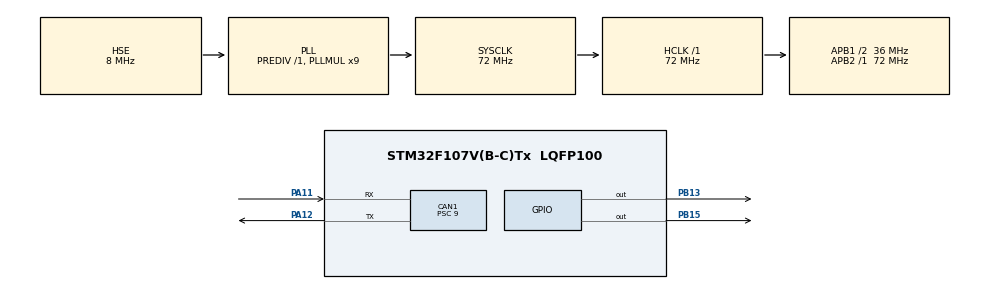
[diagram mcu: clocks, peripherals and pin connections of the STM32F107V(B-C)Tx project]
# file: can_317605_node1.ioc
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CAN1.BS1=CAN_BS1_5TQ
CAN1.BS2=CAN_BS2_2TQ
CAN1.CalculateBaudRate=500000
CAN1.CalculateTimeBit=2000
CAN1.CalculateTimeQuantum=250.0
CAN1.Mode=CAN_MODE_NORMAL
CAN1.Prescaler=9
CAN1.SJW=CAN_SJW_1TQ
Mcu.Family=STM32F1
Mcu.Name=STM32F107V(B-C)Tx
Mcu.Package=LQFP100
NVIC.CAN1_RX0_IRQn=true\:0\:0\:false\:false\:true\:true\:true\:true
NVIC.CAN1_RX1_IRQn=true\:0\:0\:false\:false\:true\:true\:true\:true
NVIC.CAN1_SCE_IRQn=true\:0\:0\:false\:false\:true\:true\:true\:true
NVIC.CAN1_TX_IRQn=true\:0\:0\:false\:false\:true\:true\:true\:true
NVIC.PriorityGroup=NVIC_PRIORITYGROUP_4
OSC_IN.Mode=HSE-External-Oscillator
OSC_IN.Signal=RCC_OSC_IN
OSC_OUT.Mode=HSE-External-Oscillator
OSC_OUT.Signal=RCC_OSC_OUT
PA11.Mode=CAN_Activate
PA11.Signal=CAN1_RX
PA12.Mode=CAN_Activate
PA12.Signal=CAN1_TX
PA13.Mode=Serial_Wire
PA13.Signal=SYS_JTMS-SWDIO
PA14.Mode=Serial_Wire
PA14.Signal=SYS_JTCK-SWCLK
PB13.Signal=GPIO_Output
PB15.Signal=GPIO_Output
ProjectManager.HeapSize=0x200
ProjectManager.StackSize=0x400
ProjectManager.TargetToolchain=STM32CubeIDE
RCC.AHBFreq_Value=72000000
RCC.APB1CLKDivider=RCC_HCLK_DIV2
RCC.APB1Freq_Value=36000000
RCC.APB1TimFreq_Value=72000000
RCC.APB2Freq_Value=72000000
RCC.APB2TimFreq_Value=72000000
RCC.HCLKFreq_Value=72000000
RCC.PLLMUL=RCC_PLL_MUL9
RCC.PLLSourceVirtual=RCC_PLLSOURCE_HSE
RCC.SYSCLKFreq_VALUE=72000000
RCC.SYSCLKSource=RCC_SYSCLKSOURCE_PLLCLK
RCC.USBFreq_Value=48000000
board=custom

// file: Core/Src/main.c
/* USER CODE BEGIN Header */
/**
  ******************************************************************************
  * @file           : main.c
  * @brief          : Main program body
  ******************************************************************************
  * @attention
  *
  * Copyright (c) 2025 STMicroelectronics.
  * All rights reserved.
  *
  * This software is licensed under terms that can be found in the LICENSE file
  * in the root directory of this software component.
  * If no LICENSE file comes with this software, it is provided AS-IS.
  *
  ******************************************************************************
  */
/* USER CODE END Header */
#include "main.h"

/* USER CODE BEGIN PM */
uint8_t TxData[1] = {1};     // send “1” to Node-2
uint8_t RxData[8];           // buffer for ACK
uint32_t TxMailbox;

uint32_t lastAckTime = 0;
uint32_t ackTimeoutMs = 1500;   // 1.5s timeout
/* USER CODE END PM */

CAN_HandleTypeDef hcan1;

/* USER CODE BEGIN PV */
CAN_TxHeaderTypeDef TxHeader;
CAN_RxHeaderTypeDef RxHeader;
/* USER CODE END PV */

void SystemClock_Config(void);
static void MX_GPIO_Init(void);
static void MX_CAN1_Init(void);

/* USER CODE BEGIN 0 */
//uint8_t TxData[8] = {0x11,0x22,0x33,0x44,0x55,0x66,0x77,0x88};
//uint8_t RxData[8];
//uint32_t TxMailbox;
/* USER CODE END 0 */

int main(void)
{

  /* MCU Configuration--------------------------------------------------------*/

  /* Reset of all peripherals, Initializes the Flash interface and the Systick. */
  HAL_Init();

  /* Configure the system clock */
  SystemClock_Config();

  /* Initialize all configured peripherals */
  MX_GPIO_Init();
  MX_CAN1_Init();
  /* USER CODE BEGIN 2 */
  CAN_FilterTypeDef canFilter = {0};

  canFilter.FilterActivation = ENABLE;
  canFilter.FilterBank = 0;
  canFilter.FilterFIFOAssignment = CAN_FILTER_FIFO0;
  canFilter.FilterMode = CAN_FILTERMODE_IDMASK;
  canFilter.FilterScale = CAN_FILTERSCALE_32BIT;

  canFilter.FilterIdHigh = 0x0000;
  canFilter.FilterIdLow  = 0x0000;
  canFilter.FilterMaskIdHigh = 0x0000;
  canFilter.FilterMaskIdLow  = 0x0000;

  if (HAL_CAN_ConfigFilter(&hcan1, &canFilter) != HAL_OK)
  {
      Error_Handler();
  }

  if (HAL_CAN_Start(&hcan1) != HAL_OK)
  {
	  Error_Handler();
  }

//  __HAL_CAN_ENABLE_IT(&hcan1, CAN_IT_RX_FIFO0_MSG_PENDING);

      // Enable RX interrupt
      HAL_CAN_ActivateNotification(&hcan1, CAN_IT_RX_FIFO0_MSG_PENDING);

      // CAN TX Header Configuration

      TxHeader.StdId = 0x123;
      TxHeader.IDE = CAN_ID_STD;
      TxHeader.RTR = CAN_RTR_DATA;
      TxHeader.DLC = 1;

      lastAckTime = HAL_GetTick();

      HAL_GPIO_WritePin(GPIOB, GPIO_PIN_15, SET);
      HAL_GPIO_WritePin(GPIOB, GPIO_PIN_13, SET);
  /* USER CODE END 2 */

  /* Infinite loop */
  /* USER CODE BEGIN WHILE */
  while (1)
  {
	  // SEND message = 1 every 1 second
	      HAL_CAN_AddTxMessage(&hcan1, &TxHeader, TxData, &TxMailbox);
	      HAL_Delay(1000);

	      // TIMEOUT → RED LED
	      if ((HAL_GetTick() - lastAckTime) > ackTimeoutMs)
	      {
	          HAL_GPIO_TogglePin(GPIOB, GPIO_PIN_13);  // RED LED
	          lastAckTime = HAL_GetTick();             // reset timer
	      }
    /* USER CODE END WHILE */

  }
}

void SystemClock_Config(void)
{
  RCC_OscInitTypeDef RCC_OscInitStruct = {0};
  RCC_ClkInitTypeDef RCC_ClkInitStruct = {0};

  /** Initializes the RCC Oscillators according to the specified parameters
  * in the RCC_OscInitTypeDef structure.
  */
  RCC_OscInitStruct.OscillatorType = RCC_OSCILLATORTYPE_HSE;
  RCC_OscInitStruct.HSEState = RCC_HSE_ON;
  RCC_OscInitStruct.HSEPredivValue = RCC_HSE_PREDIV_DIV1;
  RCC_OscInitStruct.HSIState = RCC_HSI_ON;
  RCC_OscInitStruct.Prediv1Source = RCC_PREDIV1_SOURCE_HSE;
  RCC_OscInitStruct.PLL.PLLState = RCC_PLL_ON;
  RCC_OscInitStruct.PLL.PLLSource = RCC_PLLSOURCE_HSE;
  RCC_OscInitStruct.PLL.PLLMUL = RCC_PLL_MUL9;
  RCC_OscInitStruct.PLL2.PLL2State = RCC_PLL_NONE;
  if (HAL_RCC_OscConfig(&RCC_OscInitStruct) != HAL_OK)
  {
    Error_Handler();
  }

  /** Initializes the CPU, AHB and APB buses clocks
  */
  RCC_ClkInitStruct.ClockType = RCC_CLOCKTYPE_HCLK|RCC_CLOCKTYPE_SYSCLK
                              |RCC_CLOCKTYPE_PCLK1|RCC_CLOCKTYPE_PCLK2;
  RCC_ClkInitStruct.SYSCLKSource = RCC_SYSCLKSOURCE_PLLCLK;
  RCC_ClkInitStruct.AHBCLKDivider = RCC_SYSCLK_DIV1;
  RCC_ClkInitStruct.APB1CLKDivider = RCC_HCLK_DIV2;
  RCC_ClkInitStruct.APB2CLKDivider = RCC_HCLK_DIV1;

  if (HAL_RCC_ClockConfig(&RCC_ClkInitStruct, FLASH_LATENCY_2) != HAL_OK)
  {
    Error_Handler();
  }

  /** Configure the Systick interrupt time
  */
  __HAL_RCC_PLLI2S_ENABLE();
}

static void MX_CAN1_Init(void)
{

  hcan1.Instance = CAN1;
  hcan1.Init.Prescaler = 9;
  hcan1.Init.Mode = CAN_MODE_NORMAL;
  hcan1.Init.SyncJumpWidth = CAN_SJW_1TQ;
  hcan1.Init.TimeSeg1 = CAN_BS1_5TQ;
  hcan1.Init.TimeSeg2 = CAN_BS2_2TQ;
  hcan1.Init.TimeTriggeredMode = DISABLE;
  hcan1.Init.AutoBusOff = DISABLE;
  hcan1.Init.AutoWakeUp = DISABLE;
  hcan1.Init.AutoRetransmission = DISABLE;
  hcan1.Init.ReceiveFifoLocked = DISABLE;
  hcan1.Init.TransmitFifoPriority = DISABLE;
  if (HAL_CAN_Init(&hcan1) != HAL_OK)
  {
    Error_Handler();
  }

}

static void MX_GPIO_Init(void)
{
  GPIO_InitTypeDef GPIO_InitStruct = {0};

  /* GPIO Ports Clock Enable */
  __HAL_RCC_GPIOB_CLK_ENABLE();
  __HAL_RCC_GPIOA_CLK_ENABLE();

  /*Configure GPIO pin Output Level */
  HAL_GPIO_WritePin(GPIOB, GPIO_PIN_13|GPIO_PIN_15, GPIO_PIN_RESET);

  /*Configure GPIO pins : PB13 PB15 */
  GPIO_InitStruct.Pin = GPIO_PIN_13|GPIO_PIN_15;
  GPIO_InitStruct.Mode = GPIO_MODE_OUTPUT_PP;
  GPIO_InitStruct.Pull = GPIO_NOPULL;
  GPIO_InitStruct.Speed = GPIO_SPEED_FREQ_LOW;
  HAL_GPIO_Init(GPIOB, &GPIO_InitStruct);

}

/* USER CODE BEGIN 4 */
void HAL_CAN_RxFifo0MsgPendingCallback(CAN_HandleTypeDef *hcan)
{
//    HAL_CAN_GetRxMessage(hcan, CAN_RX_FIFO0, &RxHeader, RxData);
//    HAL_GPIO_TogglePin(GPIOB, GPIO_PIN_13);   // debug indicator
//    // Debug: toggle a GPIO or inspect RxData in debugger
//    // Example: received data copied successfully
	 HAL_CAN_GetRxMessage(hcan, CAN_RX_FIFO0, &RxHeader, RxData);

	    // Check ACK from Node-2
	    if (RxHeader.StdId == 0x321 && RxData[0] == 0xAA)
	    {
	        HAL_GPIO_TogglePin(GPIOB, GPIO_PIN_15);   // YELLOW LED
	        lastAckTime = HAL_GetTick();              // reset timeout
	    }
}
/* USER CODE END 4 */

void Error_Handler(void)
{
  __disable_irq();
  while (1)
  {
  }
}
